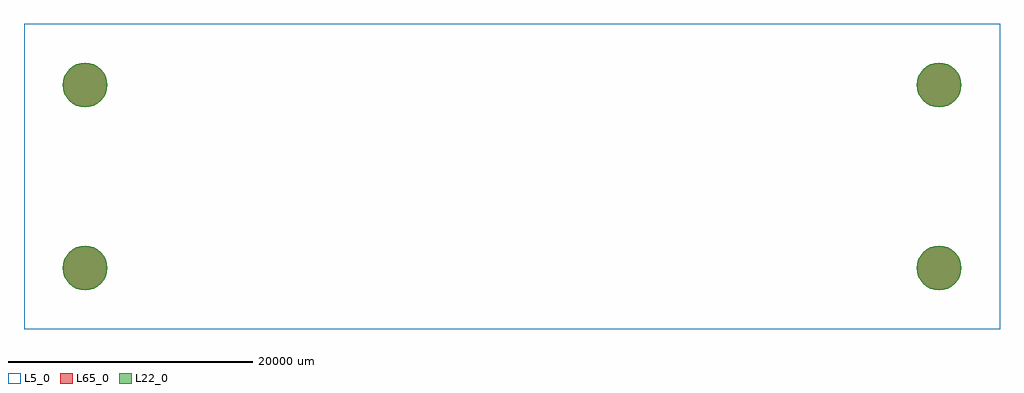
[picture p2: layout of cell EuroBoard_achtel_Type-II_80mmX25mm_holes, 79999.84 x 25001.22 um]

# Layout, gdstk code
import gdstk
lib = gdstk.Library(unit=1e-6, precision=1e-09)
def R(c, l, rs):  # rectangles x0, y0, x1, y1
    for r in rs: c.add(gdstk.rectangle(r[:2], r[2:], *l))
def P(c, l, *ps):  # polygons
    for p in ps: c.add(gdstk.Polygon(p, *l))
L5_0 = (5, 0)
L22_0 = (22, 0)
L65_0 = (65, 0)

euroboard_achtel_type_ii = lib.new_cell('EuroBoard_achtel_Type-II_80mmX25mm_holes')
R(euroboard_achtel_type_ii, L5_0, [(0,0,79999.84,25001.22)])
P(euroboard_achtel_type_ii, L22_0, [(76826.18,5001.26),(76791.112,5357.312),(76687.256,5699.68),(76518.602,6015.209),(76291.632,6291.772),(76015.069,6518.742),(75699.54,6687.396),(75357.172,6791.252),(75001.12,6826.32),(74645.068,6791.252),(74302.7,6687.396),(73987.171,6518.742),(73710.608,6291.772),(73483.638,6015.209),(73314.984,5699.68),(73211.128,5357.312),(73176.06,5001.26),(73211.128,4645.208),(73314.984,4302.84),(73483.638,3987.311),(73710.608,3710.748),(73987.171,3483.778),(74302.7,3315.124),(74645.068,3211.268),(75001.12,3176.2),(75357.172,3211.268),(75699.54,3315.124),(76015.069,3483.778),(76291.632,3710.748),(76518.602,3987.311),(76687.256,4302.84),(76791.112,4645.208)],
  [(76826.18,19999.96),(76791.112,20356.012),(76687.256,20698.38),(76518.602,21013.909),(76291.632,21290.472),(76015.069,21517.442),(75699.54,21686.096),(75357.172,21789.952),(75001.12,21825.02),(74645.068,21789.952),(74302.7,21686.096),(73987.171,21517.442),(73710.608,21290.472),(73483.638,21013.909),(73314.984,20698.38),(73211.128,20356.012),(73176.06,19999.96),(73211.128,19643.908),(73314.984,19301.54),(73483.638,18986.011),(73710.608,18709.448),(73987.171,18482.478),(74302.7,18313.824),(74645.068,18209.968),(75001.12,18174.9),(75357.172,18209.968),(75699.54,18313.824),(76015.069,18482.478),(76291.632,18709.448),(76518.602,18986.011),(76687.256,19301.54),(76791.112,19643.908)],
  [(6826.32,19999.96),(6791.252,20356.012),(6687.396,20698.38),(6518.742,21013.909),(6291.772,21290.472),(6015.209,21517.442),(5699.68,21686.096),(5357.312,21789.952),(5001.26,21825.02),(4645.208,21789.952),(4302.84,21686.096),(3987.311,21517.442),(3710.748,21290.472),(3483.778,21013.909),(3315.124,20698.38),(3211.268,20356.012),(3176.2,19999.96),(3211.268,19643.908),(3315.124,19301.54),(3483.778,18986.011),(3710.748,18709.448),(3987.311,18482.478),(4302.84,18313.824),(4645.208,18209.968),(5001.26,18174.9),(5357.312,18209.968),(5699.68,18313.824),(6015.209,18482.478),(6291.772,18709.448),(6518.742,18986.011),(6687.396,19301.54),(6791.252,19643.908)],
  [(6826.32,5001.26),(6791.252,5357.312),(6687.396,5699.68),(6518.742,6015.209),(6291.772,6291.772),(6015.209,6518.742),(5699.68,6687.396),(5357.312,6791.252),(5001.26,6826.32),(4645.208,6791.252),(4302.84,6687.396),(3987.311,6518.742),(3710.748,6291.772),(3483.778,6015.209),(3315.124,5699.68),(3211.268,5357.312),(3176.2,5001.26),(3211.268,4645.208),(3315.124,4302.84),(3483.778,3987.311),(3710.748,3710.748),(3987.311,3483.778),(4302.84,3315.124),(4645.208,3211.268),(5001.26,3176.2),(5357.312,3211.268),(5699.68,3315.124),(6015.209,3483.778),(6291.772,3710.748),(6518.742,3987.311),(6687.396,4302.84),(6791.252,4645.208)])
P(euroboard_achtel_type_ii, L65_0, [(76826.18,5001.26),(76791.112,5357.312),(76687.256,5699.68),(76518.602,6015.209),(76291.632,6291.772),(76015.069,6518.742),(75699.54,6687.396),(75357.172,6791.252),(75001.12,6826.32),(74645.068,6791.252),(74302.7,6687.396),(73987.171,6518.742),(73710.608,6291.772),(73483.638,6015.209),(73314.984,5699.68),(73211.128,5357.312),(73176.06,5001.26),(73211.128,4645.208),(73314.984,4302.84),(73483.638,3987.311),(73710.608,3710.748),(73987.171,3483.778),(74302.7,3315.124),(74645.068,3211.268),(75001.12,3176.2),(75357.172,3211.268),(75699.54,3315.124),(76015.069,3483.778),(76291.632,3710.748),(76518.602,3987.311),(76687.256,4302.84),(76791.112,4645.208)],
  [(76826.18,19999.96),(76791.112,20356.012),(76687.256,20698.38),(76518.602,21013.909),(76291.632,21290.472),(76015.069,21517.442),(75699.54,21686.096),(75357.172,21789.952),(75001.12,21825.02),(74645.068,21789.952),(74302.7,21686.096),(73987.171,21517.442),(73710.608,21290.472),(73483.638,21013.909),(73314.984,20698.38),(73211.128,20356.012),(73176.06,19999.96),(73211.128,19643.908),(73314.984,19301.54),(73483.638,18986.011),(73710.608,18709.448),(73987.171,18482.478),(74302.7,18313.824),(74645.068,18209.968),(75001.12,18174.9),(75357.172,18209.968),(75699.54,18313.824),(76015.069,18482.478),(76291.632,18709.448),(76518.602,18986.011),(76687.256,19301.54),(76791.112,19643.908)],
  [(6826.32,19999.96),(6791.252,20356.012),(6687.396,20698.38),(6518.742,21013.909),(6291.772,21290.472),(6015.209,21517.442),(5699.68,21686.096),(5357.312,21789.952),(5001.26,21825.02),(4645.208,21789.952),(4302.84,21686.096),(3987.311,21517.442),(3710.748,21290.472),(3483.778,21013.909),(3315.124,20698.38),(3211.268,20356.012),(3176.2,19999.96),(3211.268,19643.908),(3315.124,19301.54),(3483.778,18986.011),(3710.748,18709.448),(3987.311,18482.478),(4302.84,18313.824),(4645.208,18209.968),(5001.26,18174.9),(5357.312,18209.968),(5699.68,18313.824),(6015.209,18482.478),(6291.772,18709.448),(6518.742,18986.011),(6687.396,19301.54),(6791.252,19643.908)],
  [(6826.32,5001.26),(6791.252,5357.312),(6687.396,5699.68),(6518.742,6015.209),(6291.772,6291.772),(6015.209,6518.742),(5699.68,6687.396),(5357.312,6791.252),(5001.26,6826.32),(4645.208,6791.252),(4302.84,6687.396),(3987.311,6518.742),(3710.748,6291.772),(3483.778,6015.209),(3315.124,5699.68),(3211.268,5357.312),(3176.2,5001.26),(3211.268,4645.208),(3315.124,4302.84),(3483.778,3987.311),(3710.748,3710.748),(3987.311,3483.778),(4302.84,3315.124),(4645.208,3211.268),(5001.26,3176.2),(5357.312,3211.268),(5699.68,3315.124),(6015.209,3483.778),(6291.772,3710.748),(6518.742,3987.311),(6687.396,4302.84),(6791.252,4645.208)])
euroboard_achtel_type_ii.add(gdstk.Label('type', (41998.9,-5999.48), layer=9, texttype=0))
euroboard_achtel_type_ii.add(gdstk.Label('devicename', (41000.68,29999.94), layer=9, texttype=0))

lib.write_gds('EuroBoard_achtel_Type-II_80mmX25mm_holes.gds')
